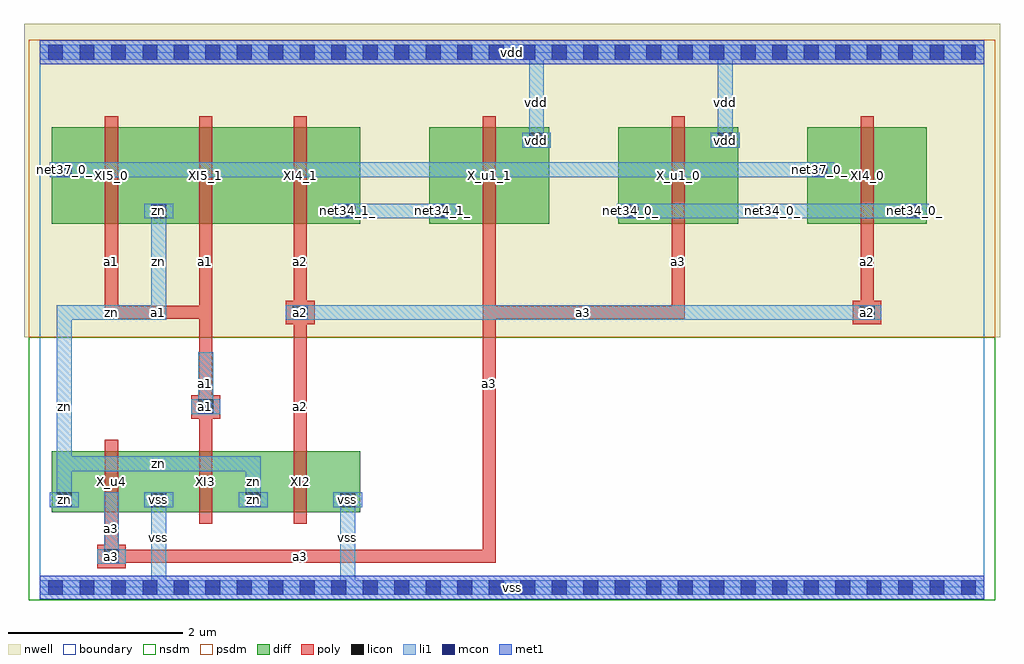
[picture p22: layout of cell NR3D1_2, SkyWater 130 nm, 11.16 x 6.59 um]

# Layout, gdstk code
import gdstk
lib = gdstk.Library(unit=1e-6, precision=1e-09)
def R(c, l, rs):  # rectangles x0, y0, x1, y1
    for r in rs: c.add(gdstk.rectangle(r[:2], r[2:], *l))
def A(c, l, x, y, w, h, nx, ny, dx, dy):  # array of equal rectangles
    R(c, l, [(x+i*dx, y+j*dy, x+i*dx+w, y+j*dy+h) for i in range(nx) for j in range(ny)])
L0_0 = (0, 0)
nwell = (64, 20)
diff = (65, 20)
poly = (66, 20)
licon = (66, 44)
li1 = (67, 20)
mcon = (67, 44)
met1 = (68, 20)
nsdm = (93, 44)
psdm = (94, 20)
boundary = (235, 4)

nr3d1_2 = lib.new_cell('NR3D1_2')
R(nr3d1_2, nwell, [(-0.18,2.86,10.98,6.445)])
A(nr3d1_2, diff, 0.135, 0.86, 1.37, 0.7, 3, 1, 1.08, 0)
A(nr3d1_2, diff, 0.135, 0.86, 0.29, 0.29, 4, 1, 1.08, 0)
A(nr3d1_2, diff, 0.135, 4.16, 1.37, 1.1, 3, 1, 1.08, 0)
A(nr3d1_2, diff, 4.455, 4.16, 1.37, 1.1, 3, 1, 2.16, 0)
R(nr3d1_2, diff, [(1.215,4.16,1.505,4.45), (3.375,4.16,3.665,4.45), (4.455,4.16,4.745,4.45), (6.615,4.16,6.905,4.45), (9.855,4.16,10.145,4.45), (0.135,4.63,0.425,4.92), (8.775,4.63,9.065,4.92), (5.535,4.97,5.825,5.26), (7.695,4.97,7.985,5.26)])
A(nr3d1_2, poly, 0.745, 0.73, 0.15, 0.96, 3, 1, 1.08, 0)
A(nr3d1_2, poly, 0.745, 3.07, 0.15, 1.31, 3, 1, 1.08, 0)
A(nr3d1_2, poly, 0.745, 4.03, 0.15, 1.36, 3, 1, 1.08, 0)
A(nr3d1_2, poly, 5.065, 4.03, 0.15, 1.36, 3, 1, 2.16, 0)
R(nr3d1_2, poly, [(0.655,0.22,0.985,0.49), (0.745,0.28,0.895,1.08), (0.745,0.28,5.215,0.43), (5.065,0.28,5.215,4.38), (1.825,0.93,1.975,3.22), (2.905,0.93,3.055,3.22), (1.735,1.93,2.065,2.2), (2.815,3.01,3.145,3.28), (9.295,3.01,9.625,3.28), (0.745,3.07,1.975,3.22), (5.065,3.07,7.375,3.22), (7.225,3.07,7.375,4.38), (9.385,3.07,9.535,4.38)])
A(nr3d1_2, licon, 0.195, 0.92, 0.17, 0.17, 4, 1, 1.08, 0)
R(nr3d1_2, licon, [(0.735,0.27,0.905,0.44), (1.815,1.98,1.985,2.15), (2.895,3.06,3.065,3.23), (9.375,3.06,9.545,3.23), (1.275,4.22,1.445,4.39), (3.435,4.22,3.605,4.39), (4.515,4.22,4.685,4.39), (6.675,4.22,6.845,4.39), (9.915,4.22,10.085,4.39), (0.195,4.69,0.365,4.86), (8.835,4.69,9.005,4.86), (5.595,5.03,5.765,5.2), (7.755,5.03,7.925,5.2)])
A(nr3d1_2, li1, 0.115, 0.92, 0.33, 0.17, 4, 1, 1.08, 0)
R(nr3d1_2, li1, [(0,-0.085,10.8,0.085), (1.275,0.06,1.445,1.09), (3.435,0.06,3.605,1.09), (0.655,0.27,0.985,0.44), (0.735,0.27,0.905,1.09), (0.195,0.92,0.365,3.23), (2.355,0.92,2.525,1.5), (0.195,1.33,2.525,1.5), (1.735,1.98,2.065,2.15), (1.815,1.98,1.985,2.69), (0.195,3.06,1.445,3.23), (1.275,3.06,1.445,4.39), (2.815,3.06,3.145,3.23), (2.895,3.06,9.545,3.23), (9.295,3.06,9.625,3.23), (1.195,4.22,1.525,4.39), (3.355,4.22,3.685,4.39), (3.435,4.22,4.685,4.39), (4.435,4.22,4.765,4.39), (6.595,4.22,6.925,4.39), (6.675,4.22,10.085,4.39), (9.835,4.22,10.165,4.39), (0.115,4.69,0.445,4.86), (0.195,4.69,9.005,4.86), (8.755,4.69,9.085,4.86), (5.515,5.03,5.845,5.2), (5.595,5.03,5.765,6.06), (7.675,5.03,8.005,5.2), (7.755,5.03,7.925,6.06), (0,6.035,10.8,6.205)])
A(nr3d1_2, mcon, 0.095, -0.085, 0.17, 0.17, 30, 2, 0.36, 6.12)
R(nr3d1_2, met1, [(0,-0.135,10.8,0.135), (0,5.985,10.8,6.255)])
R(nr3d1_2, nsdm, [(-0.125,-0.145,10.925,0.145), (-0.125,0.145,10.925,2.86)])
R(nr3d1_2, psdm, [(-0.125,2.86,10.925,5.975), (-0.125,5.975,10.925,6.265)])
R(nr3d1_2, boundary, [(0,0,10.8,6.12)])
nr3d1_2.add(gdstk.FlexPath([(0.115,0.355),(10.165,0.355)], 0, ends="flush", simple_path=True, layer=0, datatype=0))  # L0_0
nr3d1_2.add(gdstk.FlexPath([(0.115,1.005),(10.165,1.005)], 0, ends="flush", simple_path=True, layer=0, datatype=0))  # L0_0
nr3d1_2.add(gdstk.FlexPath([(0.115,1.415),(10.165,1.415)], 0, ends="flush", simple_path=True, layer=0, datatype=0))  # L0_0
nr3d1_2.add(gdstk.FlexPath([(0.115,2.065),(10.165,2.065)], 0, ends="flush", simple_path=True, layer=0, datatype=0))  # L0_0
nr3d1_2.add(gdstk.FlexPath([(0.115,2.605),(10.165,2.605)], 0, ends="flush", simple_path=True, layer=0, datatype=0))  # L0_0
nr3d1_2.add(gdstk.FlexPath([(0.115,3.145),(10.165,3.145)], 0, ends="flush", simple_path=True, layer=0, datatype=0))  # L0_0
nr3d1_2.add(gdstk.FlexPath([(0.115,4.305),(10.165,4.305)], 0, ends="flush", simple_path=True, layer=0, datatype=0))  # L0_0
nr3d1_2.add(gdstk.FlexPath([(0.115,4.775),(10.165,4.775)], 0, ends="flush", simple_path=True, layer=0, datatype=0))  # L0_0
nr3d1_2.add(gdstk.FlexPath([(0.115,5.115),(10.165,5.115)], 0, ends="flush", simple_path=True, layer=0, datatype=0))  # L0_0
nr3d1_2.add(gdstk.FlexPath([(0.115,5.765),(10.165,5.765)], 0, ends="flush", simple_path=True, layer=0, datatype=0))  # L0_0
nr3d1_2.add(gdstk.FlexPath([(0.28,0.06),(0.28,6.06)], 0, ends="flush", simple_path=True, layer=0, datatype=0))  # L0_0
nr3d1_2.add(gdstk.FlexPath([(0.82,0.06),(0.82,6.06)], 0, ends="flush", simple_path=True, layer=0, datatype=0))  # L0_0
nr3d1_2.add(gdstk.FlexPath([(1.36,0.06),(1.36,6.06)], 0, ends="flush", simple_path=True, layer=0, datatype=0))  # L0_0
nr3d1_2.add(gdstk.FlexPath([(1.9,0.06),(1.9,6.06)], 0, ends="flush", simple_path=True, layer=0, datatype=0))  # L0_0
nr3d1_2.add(gdstk.FlexPath([(2.44,0.06),(2.44,6.06)], 0, ends="flush", simple_path=True, layer=0, datatype=0))  # L0_0
nr3d1_2.add(gdstk.FlexPath([(2.98,0.06),(2.98,6.06)], 0, ends="flush", simple_path=True, layer=0, datatype=0))  # L0_0
nr3d1_2.add(gdstk.FlexPath([(3.52,0.06),(3.52,6.06)], 0, ends="flush", simple_path=True, layer=0, datatype=0))  # L0_0
nr3d1_2.add(gdstk.FlexPath([(4.06,0.06),(4.06,6.06)], 0, ends="flush", simple_path=True, layer=0, datatype=0))  # L0_0
nr3d1_2.add(gdstk.FlexPath([(4.6,0.06),(4.6,6.06)], 0, ends="flush", simple_path=True, layer=0, datatype=0))  # L0_0
nr3d1_2.add(gdstk.FlexPath([(5.14,0.06),(5.14,6.06)], 0, ends="flush", simple_path=True, layer=0, datatype=0))  # L0_0
nr3d1_2.add(gdstk.FlexPath([(5.68,0.06),(5.68,6.06)], 0, ends="flush", simple_path=True, layer=0, datatype=0))  # L0_0
nr3d1_2.add(gdstk.FlexPath([(6.22,0.06),(6.22,6.06)], 0, ends="flush", simple_path=True, layer=0, datatype=0))  # L0_0
nr3d1_2.add(gdstk.FlexPath([(6.76,0.06),(6.76,6.06)], 0, ends="flush", simple_path=True, layer=0, datatype=0))  # L0_0
nr3d1_2.add(gdstk.FlexPath([(7.3,0.06),(7.3,6.06)], 0, ends="flush", simple_path=True, layer=0, datatype=0))  # L0_0
nr3d1_2.add(gdstk.FlexPath([(7.84,0.06),(7.84,6.06)], 0, ends="flush", simple_path=True, layer=0, datatype=0))  # L0_0
nr3d1_2.add(gdstk.FlexPath([(8.38,0.06),(8.38,6.06)], 0, ends="flush", simple_path=True, layer=0, datatype=0))  # L0_0
nr3d1_2.add(gdstk.FlexPath([(8.92,0.06),(8.92,6.06)], 0, ends="flush", simple_path=True, layer=0, datatype=0))  # L0_0
nr3d1_2.add(gdstk.FlexPath([(9.46,0.06),(9.46,6.06)], 0, ends="flush", simple_path=True, layer=0, datatype=0))  # L0_0
nr3d1_2.add(gdstk.FlexPath([(10,0.06),(10,6.06)], 0, ends="flush", simple_path=True, layer=0, datatype=0))  # L0_0
nr3d1_2.add(gdstk.Label('X_u4', (0.82,1.21), layer=65, texttype=20))
nr3d1_2.add(gdstk.Label('XI2', (2.98,1.21), layer=65, texttype=20))
nr3d1_2.add(gdstk.Label('XI3', (1.9,1.21), layer=65, texttype=20))
nr3d1_2.add(gdstk.Label('XI4_0', (9.46,4.71), layer=65, texttype=20))
nr3d1_2.add(gdstk.Label('X_u1_0', (7.3,4.71), layer=65, texttype=20))
nr3d1_2.add(gdstk.Label('X_u1_1', (5.14,4.71), layer=65, texttype=20))
nr3d1_2.add(gdstk.Label('XI4_1', (2.98,4.71), layer=65, texttype=20))
nr3d1_2.add(gdstk.Label('XI5_0', (0.82,4.71), layer=65, texttype=20))
nr3d1_2.add(gdstk.Label('XI5_1', (1.9,4.71), layer=65, texttype=20))
nr3d1_2.add(gdstk.Label('zn', (0.28,1.005), layer=65, texttype=20))
nr3d1_2.add(gdstk.Label('zn', (2.44,1.005), layer=65, texttype=20))
nr3d1_2.add(gdstk.Label('zn', (1.36,4.305), layer=65, texttype=20))
nr3d1_2.add(gdstk.Label('net37_0_', (8.92,4.775), layer=65, texttype=20))
nr3d1_2.add(gdstk.Label('net37_0_', (0.28,4.775), layer=65, texttype=20))
nr3d1_2.add(gdstk.Label('net34_0_', (10,4.305), layer=65, texttype=20))
nr3d1_2.add(gdstk.Label('net34_0_', (6.76,4.305), layer=65, texttype=20))
nr3d1_2.add(gdstk.Label('net34_1_', (4.6,4.305), layer=65, texttype=20))
nr3d1_2.add(gdstk.Label('net34_1_', (3.52,4.305), layer=65, texttype=20))
nr3d1_2.add(gdstk.Label('vss', (1.36,1.005), layer=65, texttype=20))
nr3d1_2.add(gdstk.Label('vss', (3.52,1.005), layer=65, texttype=20))
nr3d1_2.add(gdstk.Label('vdd', (7.84,5.115), layer=65, texttype=20))
nr3d1_2.add(gdstk.Label('vdd', (5.68,5.115), layer=65, texttype=20))
nr3d1_2.add(gdstk.Label('a3', (0.82,0.68), layer=66, texttype=20))
nr3d1_2.add(gdstk.Label('a3', (2.98,0.355), layer=66, texttype=20))
nr3d1_2.add(gdstk.Label('a3', (5.14,2.33), layer=66, texttype=20))
nr3d1_2.add(gdstk.Label('a3', (7.3,3.725), layer=66, texttype=20))
nr3d1_2.add(gdstk.Label('a3', (6.22,3.145), layer=66, texttype=20))
nr3d1_2.add(gdstk.Label('a3', (0.82,0.355), layer=66, texttype=20))
nr3d1_2.add(gdstk.Label('a2', (2.98,2.075), layer=66, texttype=20))
nr3d1_2.add(gdstk.Label('a2', (2.98,3.145), layer=66, texttype=20))
nr3d1_2.add(gdstk.Label('a2', (9.46,3.145), layer=66, texttype=20))
nr3d1_2.add(gdstk.Label('a2', (9.46,3.725), layer=66, texttype=20))
nr3d1_2.add(gdstk.Label('a2', (2.98,3.725), layer=66, texttype=20))
nr3d1_2.add(gdstk.Label('a1', (1.9,2.075), layer=66, texttype=20))
nr3d1_2.add(gdstk.Label('a1', (1.36,3.145), layer=66, texttype=20))
nr3d1_2.add(gdstk.Label('a1', (0.82,3.725), layer=66, texttype=20))
nr3d1_2.add(gdstk.Label('a1', (1.9,3.725), layer=66, texttype=20))
nr3d1_2.add(gdstk.Label('a1', (1.9,2.065), layer=66, texttype=20))
nr3d1_2.add(gdstk.Label('zn', (0.28,1.005), layer=66, texttype=44))
nr3d1_2.add(gdstk.Label('zn', (2.44,1.005), layer=66, texttype=44))
nr3d1_2.add(gdstk.Label('zn', (1.36,4.305), layer=66, texttype=44))
nr3d1_2.add(gdstk.Label('a3', (0.82,0.355), layer=66, texttype=44))
nr3d1_2.add(gdstk.Label('a2', (2.98,3.145), layer=66, texttype=44))
nr3d1_2.add(gdstk.Label('a2', (9.46,3.145), layer=66, texttype=44))
nr3d1_2.add(gdstk.Label('a1', (1.9,2.065), layer=66, texttype=44))
nr3d1_2.add(gdstk.Label('net37_0_', (8.92,4.775), layer=66, texttype=44))
nr3d1_2.add(gdstk.Label('net37_0_', (0.28,4.775), layer=66, texttype=44))
nr3d1_2.add(gdstk.Label('net34_0_', (10,4.305), layer=66, texttype=44))
nr3d1_2.add(gdstk.Label('net34_0_', (6.76,4.305), layer=66, texttype=44))
nr3d1_2.add(gdstk.Label('net34_1_', (4.6,4.305), layer=66, texttype=44))
nr3d1_2.add(gdstk.Label('net34_1_', (3.52,4.305), layer=66, texttype=44))
nr3d1_2.add(gdstk.Label('vss', (1.36,1.005), layer=66, texttype=44))
nr3d1_2.add(gdstk.Label('vss', (3.52,1.005), layer=66, texttype=44))
nr3d1_2.add(gdstk.Label('vdd', (7.84,5.115), layer=66, texttype=44))
nr3d1_2.add(gdstk.Label('vdd', (5.68,5.115), layer=66, texttype=44))
nr3d1_2.add(gdstk.Label('zn', (0.28,1.005), layer=67, texttype=16))
nr3d1_2.add(gdstk.Label('zn', (2.44,1.005), layer=67, texttype=16))
nr3d1_2.add(gdstk.Label('zn', (1.36,4.305), layer=67, texttype=16))
nr3d1_2.add(gdstk.Label('zn', (0.28,2.075), layer=67, texttype=16))
nr3d1_2.add(gdstk.Label('zn', (0.82,3.145), layer=67, texttype=16))
nr3d1_2.add(gdstk.Label('zn', (1.36,3.725), layer=67, texttype=16))
nr3d1_2.add(gdstk.Label('zn', (2.44,1.21), layer=67, texttype=16))
nr3d1_2.add(gdstk.Label('zn', (1.36,1.415), layer=67, texttype=16))
nr3d1_2.add(gdstk.Label('a3', (0.82,0.355), layer=67, texttype=16))
nr3d1_2.add(gdstk.Label('a3', (0.82,0.68), layer=67, texttype=16))
nr3d1_2.add(gdstk.Label('a2', (2.98,3.145), layer=67, texttype=16))
nr3d1_2.add(gdstk.Label('a2', (6.22,3.145), layer=67, texttype=16))
nr3d1_2.add(gdstk.Label('a2', (9.46,3.145), layer=67, texttype=16))
nr3d1_2.add(gdstk.Label('a1', (1.9,2.065), layer=67, texttype=16))
nr3d1_2.add(gdstk.Label('a1', (1.9,2.335), layer=67, texttype=16))
nr3d1_2.add(gdstk.Label('net37_0_', (8.92,4.775), layer=67, texttype=20))
nr3d1_2.add(gdstk.Label('net37_0_', (0.28,4.775), layer=67, texttype=20))
nr3d1_2.add(gdstk.Label('net37_0_', (4.6,4.775), layer=67, texttype=20))
nr3d1_2.add(gdstk.Label('net34_0_', (10,4.305), layer=67, texttype=20))
nr3d1_2.add(gdstk.Label('net34_0_', (6.76,4.305), layer=67, texttype=20))
nr3d1_2.add(gdstk.Label('net34_0_', (8.38,4.305), layer=67, texttype=20))
nr3d1_2.add(gdstk.Label('net34_1_', (4.6,4.305), layer=67, texttype=20))
nr3d1_2.add(gdstk.Label('net34_1_', (3.52,4.305), layer=67, texttype=20))
nr3d1_2.add(gdstk.Label('net34_1_', (4.06,4.305), layer=67, texttype=20))
nr3d1_2.add(gdstk.Label('vss', (1.36,1.005), layer=67, texttype=20))
nr3d1_2.add(gdstk.Label('vss', (1.36,0.575), layer=67, texttype=20))
nr3d1_2.add(gdstk.Label('vss', (3.52,1.005), layer=67, texttype=20))
nr3d1_2.add(gdstk.Label('vss', (3.52,0.575), layer=67, texttype=20))
nr3d1_2.add(gdstk.Label('vdd', (7.84,5.115), layer=67, texttype=20))
nr3d1_2.add(gdstk.Label('vdd', (7.84,5.545), layer=67, texttype=20))
nr3d1_2.add(gdstk.Label('vdd', (5.68,5.115), layer=67, texttype=20))
nr3d1_2.add(gdstk.Label('vdd', (5.68,5.545), layer=67, texttype=20))
nr3d1_2.add(gdstk.Label('vss', (5.4,0), layer=67, texttype=16))
nr3d1_2.add(gdstk.Label('vdd', (5.4,6.12), layer=67, texttype=16))
nr3d1_2.add(gdstk.Label('vss', (5.4,0), layer=68, texttype=16))
nr3d1_2.add(gdstk.Label('vdd', (5.4,6.12), layer=68, texttype=16))

lib.write_gds('NR3D1_2.gds')
